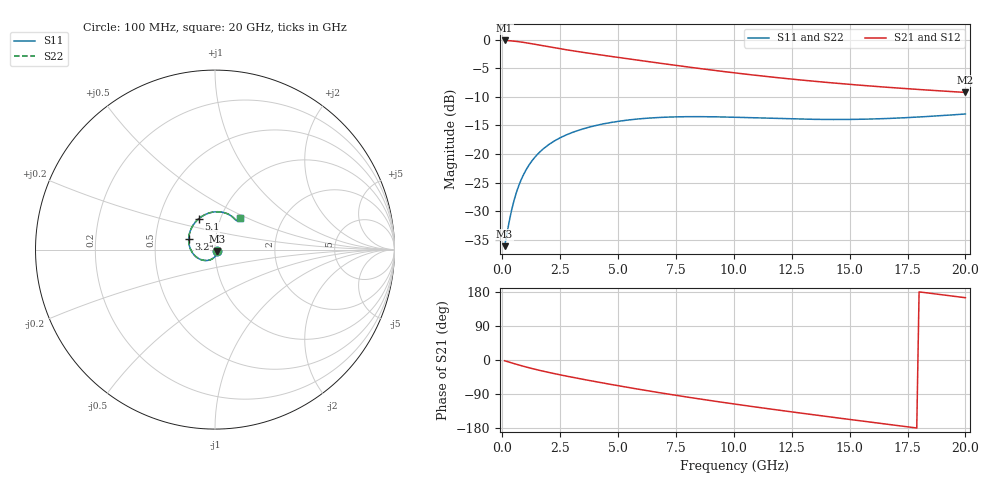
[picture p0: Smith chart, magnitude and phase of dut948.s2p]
! Touchstone file exported from HFSS 2024.1.0
!  File:  C:/UserFiles/LocalFiles/RDL_TSV_Batchsim/temp_RDL_TSV_948_1779964633.aedt
!  Generated:  06:48:06 PM May 28, 2026
!  Design:  RDL_TSV
!  Project:  temp_RDL_TSV_948_1779964633
!  Setup:  Setup1
!  Solution:  Sweep
! Variables:
!  dtsv = 14.53um
!  hbump = 3um
!  htsv = 98.02um
!  ldown = 515.2um
!  lrdl = 180.06um
!  p = 40
!  p1 = 43.13um
!  rhole = 10um
!  subl = 2265.84um
!  t = 450um
!  tdown = 2.79um
!  trdl = 3.58um
!  viad = 10um
!  wdown = 21.09um
!  wrdl = 17.2um
!  xbump = 18um
# GHz S MA R 50.000000
! Terminal data exported
! Port[1] = TM1_1_T1
! Port[2] = TM1_4_T1
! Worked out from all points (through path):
!   200 points, 100 MHz to 20 GHz, reference 50 ohm
!   highest |S21| = -0.13 dB at 100 MHz (marker M1); lowest = -9.2 dB at 20 GHz (marker M2)
!   group delay of S21, straight-line fit = 25.6 ps
!   lowest |S11| = -36.1 dB at 100 MHz (marker M3), VSWR 1.03, Z = 51.4 - j0.819 ohm
!   |S11| at or under -10 dB: start of sweep to end of sweep
!   |S22| runs from -36.1 to -13.0 dB; largest |S21 - S12| = 1e-14
!   S11 on the Smith chart (normalised r, x): 100 MHz: 1.03, -0.02; 3.2 GHz: 0.74, +0.09; 5.1 GHz: 0.79, +0.28; 20 GHz: 1.23, +0.45
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0.1  0.01559 -30.8  0.9854 -1.9  0.9854 -1.9  0.01559 -30.8
! Gamma 0 0 0 0
! Port Impedance 50 0 50 0
0.3  0.02571 -68.9  0.9805 -5.7  0.9805 -5.7  0.02571 -68.9
0.5  0.03872 -89.7  0.9723 -9.4  0.9723 -9.4  0.03871 -89.7
0.6  0.0454 -97.7  0.9673 -11.2  0.9673 -11.2  0.0454 -97.7
0.8  0.05851 -111.1  0.9556 -14.7  0.9556 -14.7  0.05851 -111.1
1.1  0.07687 -127.8  0.9351 -19.6  0.9351 -19.6  0.07686 -127.8
1.5  0.09831 -146.4  0.9051 -25.8  0.9051 -25.8  0.09831 -146.4
1.9  0.1164 -162.4  0.8752 -31.4  0.8752 -31.4  0.1164 -162.5
2.5  0.1386 177.1  0.8336 -39.2  0.8336 -39.2  0.1386 177.1
3.2  0.1588 157.3  0.7911 -47.6  0.7911 -47.6  0.1589 157.3
3.5  0.1661 149.8  0.7744 -51.1  0.7744 -51.1  0.1661 149.8
4.3  0.1822 132.4  0.7334 -60.2  0.7334 -60.2  0.1823 132.3
5.1  0.1943 117.8  0.6957 -68.9  0.6957 -68.9  0.1944 117.8
5.9  0.2028 105.5  0.6604 -77.3  0.6604 -77.3  0.203 105.5
6.8  0.2088 94.0  0.6232 -86.4  0.6232 -86.4  0.209 94.0
8.4  0.2122 78.3  0.5639 -101.7  0.5639 -101.7  0.2124 78.2
10.1  0.2094 66.9  0.5109 -116.9  0.5109 -116.9  0.2098 66.8
11.7  0.2048 60.0  0.4698 -130.4  0.4698 -130.4  0.2052 59.9
13.4  0.201 55.8  0.4342 -144.2  0.4342 -144.2  0.2014 55.7
15  0.2006 54.0  0.4067 -156.9  0.4067 -156.9  0.201 53.7
16.7  0.2047 53.1  0.3825 -170.1  0.3825 -170.1  0.2049 52.8
20  0.2238 51.3  0.3456 164.4  0.3456 164.4  0.2238 51.0
